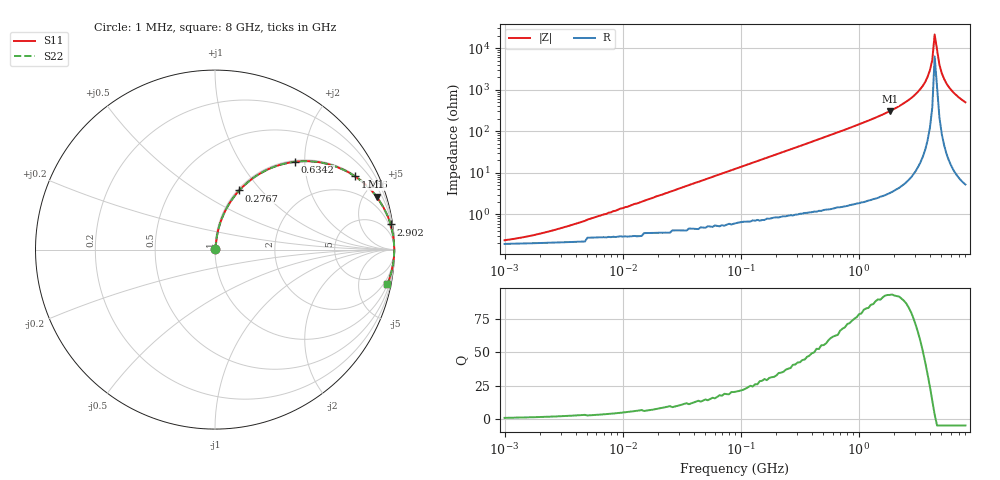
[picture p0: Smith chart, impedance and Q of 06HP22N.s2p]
# MHz S MA R 50
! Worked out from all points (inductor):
!   196 points, 1 MHz to 8 GHz, reference 50 ohm
!   read as one part in series: L = 22 nH near 6.319 MHz
!   highest Q = 93.3 at 1.831 GHz (marker M1), where L = 26.5 nH
!   self-resonance near 4.394 GHz
!   S11 on the Smith chart (normalised r, x): 1 MHz: 1.00, +0.00; 276.7 MHz: 1.02, +0.77; 634.2 MHz: 1.03, +1.79; 1.266 GHz: 1.05, +3.81; 2.902 GHz: 1, +14; 8 GHz: 1, -10
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1  0.002337 36.1  0.998 -0.1  0.998 -0.1  0.002337 36.1
2.091  0.00357 53.7  0.998 -0.2  0.998 -0.2  0.00357 53.7
4.576  0.006766 68.5  0.998 -0.4  0.998 -0.4  0.006766 68.5
20.943  0.029 81.2  0.996 -1.7  0.996 -1.7  0.029 81.2
91.528  0.125 80.1  0.986 -7.2  0.986 -7.2  0.125 80.1
276.652  0.356 67.7  0.926 -20.8  0.926 -20.8  0.356 67.7
418.867  0.5 58.9  0.856 -30.0  0.856 -30.0  0.5 58.9
634.189  0.662 47.7  0.739 -41.4  0.739 -41.4  0.662 47.7
1266.065  0.881 27.6  0.463 -61.8  0.463 -61.8  0.881 27.6
1830.556  0.947 18.1  0.311 -71.3  0.311 -71.3  0.947 18.1
2902.294  0.988 8.2  0.142 -81.1  0.142 -81.1  0.988 8.2
3489.834  0.995 4.6  0.08 -84.3  0.08 -84.3  0.995 4.6
3826.806  0.997 2.8  0.049 -85.5  0.049 -85.5  0.997 2.8
4007.304  0.998 2.0  0.034 -85.6  0.034 -85.6  0.998 2.0
4196.316  0.998 1.1  0.019 -84.7  0.019 -84.7  0.998 1.1
4394.242  0.999 0.3  0.004696 -72.5  0.004696 -72.5  0.999 0.3
4818.542  0.998 -1.5  0.025 85.4  0.025 85.4  0.998 -1.5
5045.817  0.998 -2.3  0.04 85.7  0.04 85.7  0.998 -2.3
5283.812  0.997 -3.2  0.055 85.4  0.055 85.4  0.997 -3.2
5794.008  0.995 -4.9  0.086 84.1  0.086 84.1  0.995 -4.9
6353.467  0.992 -6.7  0.117 82.5  0.117 82.5  0.992 -6.7
8000  0.978 -11.3  0.197 78.0  0.197 78.0  0.978 -11.3
